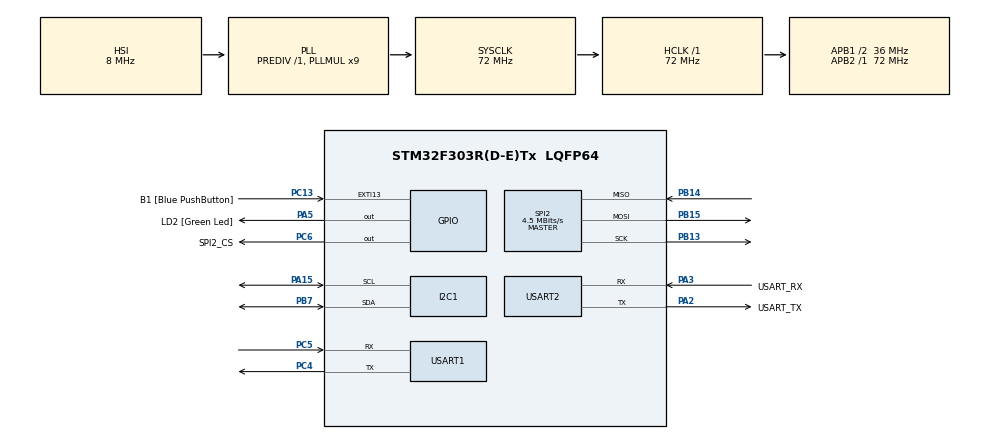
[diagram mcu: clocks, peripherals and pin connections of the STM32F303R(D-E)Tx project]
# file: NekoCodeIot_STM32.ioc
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I2C1.Timing=0x00201D2B
Mcu.Family=STM32F3
Mcu.Name=STM32F303R(D-E)Tx
Mcu.Package=LQFP64
NVIC.PriorityGroup=NVIC_PRIORITYGROUP_0
PA13.GPIO_Label=TMS
PA13.Mode=Serial_Wire
PA13.Signal=SYS_JTMS-SWDIO
PA14.GPIO_Label=TCK
PA14.Mode=Serial_Wire
PA14.Signal=SYS_JTCK-SWCLK
PA15.Mode=I2C
PA15.Signal=I2C1_SCL
PA2.GPIO_Label=USART_TX
PA2.GPIO_Mode=GPIO_MODE_AF_PP
PA2.GPIO_PuPd=GPIO_NOPULL
PA2.GPIO_Speed=GPIO_SPEED_FREQ_LOW
PA2.Mode=Asynchronous
PA2.Signal=USART2_TX
PA3.GPIO_Label=USART_RX
PA3.GPIO_Mode=GPIO_MODE_AF_PP
PA3.GPIO_PuPd=GPIO_NOPULL
PA3.GPIO_Speed=GPIO_SPEED_FREQ_LOW
PA3.Mode=Asynchronous
PA3.Signal=USART2_RX
PA5.GPIO_Label=LD2 [Green Led]
PA5.GPIO_Mode=GPIO_MODE_OUTPUT_PP
PA5.GPIO_PuPd=GPIO_NOPULL
PA5.GPIO_Speed=GPIO_SPEED_FREQ_LOW
PA5.Signal=GPIO_Output
PB13.Mode=Full_Duplex_Master
PB13.Signal=SPI2_SCK
PB14.Mode=Full_Duplex_Master
PB14.Signal=SPI2_MISO
PB15.Mode=Full_Duplex_Master
PB15.Signal=SPI2_MOSI
PB3.GPIO_Label=SWO
PB3.Signal=SYS_JTDO-TRACESWO
PB7.Mode=I2C
PB7.Signal=I2C1_SDA
PC13.GPIO_Label=B1 [Blue PushButton]
PC13.GPIO_ModeDefaultEXTI=GPIO_MODE_IT_FALLING
PC13.Signal=GPXTI13
PC14-OSC32_IN.Mode=LSE-External-Oscillator
PC14-OSC32_IN.Signal=RCC_OSC32_IN
PC15-OSC32_OUT.Mode=LSE-External-Oscillator
PC15-OSC32_OUT.Signal=RCC_OSC32_OUT
PC4.Mode=Asynchronous
PC4.Signal=USART1_TX
PC5.Mode=Asynchronous
PC5.Signal=USART1_RX
PC6.GPIO_Label=SPI2_CS
PC6.PinState=GPIO_PIN_SET
PC6.Signal=GPIO_Output
PF0-OSC_IN.Mode=HSE-External-Clock-Source
PF0-OSC_IN.Signal=RCC_OSC_IN
PF1-OSC_OUT.Signal=RCC_OSC_OUT
ProjectManager.HeapSize=0x200
ProjectManager.StackSize=0x400
ProjectManager.TargetToolchain=CMake
RCC.AHBFreq_Value=72000000
RCC.APB1CLKDivider=RCC_HCLK_DIV2
RCC.APB1Freq_Value=36000000
RCC.APB1TimFreq_Value=72000000
RCC.APB2Freq_Value=72000000
RCC.APB2TimFreq_Value=72000000
RCC.CortexFreq_Value=72000000
RCC.HCLKFreq_Value=72000000
RCC.HSE_VALUE=8000000
RCC.HSI_VALUE=8000000
RCC.PLLM=8
RCC.PLLMUL=RCC_PLL_MUL9
RCC.PLLN=336
RCC.PLLP=RCC_PLLP_DIV4
RCC.PLLQ=7
RCC.RCC_PLLsource_Clock_Source_FROM_HSE=RCC_HSE_PREDIV_DIV2
RCC.SYSCLKFreq_VALUE=72000000
RCC.SYSCLKSourceVirtual=RCC_SYSCLKSOURCE_PLLCLK
RCC.USBFreq_Value=72000000
SPI2.BaudRatePrescaler=SPI_BAUDRATEPRESCALER_8
SPI2.CLKPhase=SPI_PHASE_1EDGE
SPI2.CLKPolarity=SPI_POLARITY_LOW
SPI2.CalculateBaudRate=4.5 MBits/s
SPI2.DataSize=SPI_DATASIZE_8BIT
SPI2.Direction=SPI_DIRECTION_2LINES
SPI2.Mode=SPI_MODE_MASTER
SPI2.VirtualType=VM_MASTER
USART1.VirtualMode-Asynchronous=VM_ASYNC
USART2.VirtualMode-Asynchronous=VM_ASYNC
board=NUCLEO-F303RE

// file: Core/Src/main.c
/* USER CODE BEGIN Header */
/**
  ******************************************************************************
  * @file           : main.c
  * @brief          : Main program body
  ******************************************************************************
  * @attention
  *
  * Copyright (c) 2026 STMicroelectronics.
  * All rights reserved.
  *
  * This software is licensed under terms that can be found in the LICENSE file
  * in the root directory of this software component.
  * If no LICENSE file comes with this software, it is provided AS-IS.
  *
  ******************************************************************************
  */
/* USER CODE END Header */
#include "main.h"
#include "i2c.h"
#include "spi.h"
#include "usart.h"
#include "gpio.h"

/* USER CODE BEGIN Includes */
#include <stdio.h>
#include "bme680.h"
/* USER CODE END Includes */

/* USER CODE BEGIN PV */
BME680_HandleTypeDef bme680;
int32_t temperature = 0;
/* USER CODE END PV */

void SystemClock_Config(void);

int main(void)
{

  /* MCU Configuration--------------------------------------------------------*/

  /* Reset of all peripherals, Initializes the Flash interface and the Systick. */
  HAL_Init();

  /* USER CODE BEGIN Init */
  /* Initialize SPI transfer buffers properly */
  /* Use local variables for TX/RX instead of invalid pointers */

  /* USER CODE NOTE: move actual transfer to after peripheral init */
  /* USER CODE END Init */

  /* Configure the system clock */
  SystemClock_Config();

  /* Initialize all configured peripherals */
  MX_GPIO_Init();
  MX_I2C1_Init();
  MX_SPI2_Init();
  MX_USART1_UART_Init();
  MX_USART2_UART_Init();
  /* USER CODE BEGIN 2 */

  BME680_Init(&bme680, &hspi2); // Initialize BME680 with SPI handle and I2C address

  BME680_SetHumidityOversampling(&bme680, 4U);

  BME680_SetTemperatureOversampling(&bme680, BME680_T_OVERSAMPLING_1X); // Set temperature oversampling to 1x

  BME680_SetForcedMode(&bme680); // Set BME680 to forced mode
  BME680_ReadTemperature(&bme680, &temperature); // Read temperature from BME680
  /* USER CODE END 2 */

  /* Infinite loop */
  /* USER CODE BEGIN WHILE */
  while (1)
  {//TEST
	  BME680_SetForcedMode(&bme680); // Set BME680 to forced mode
	  HAL_Delay(108);
      BME680_ReadTemperature(&bme680, &temperature); // Read temperature from BME680

	  //extern SPI_HandleTypeDef hspi1;
	  //
	  //#define BME680_CS_GPIO_Port GPIOB
	  //#define BME680_CS_Pin GPIO_PIN_6
	  //#define BME680_REG_ID               0x50
	  //
	  //
	  //HAL_StatusTypeDef BME680_ReadChipID(uint8_t *chip_id)
	  //{
	  //    if(chip_id == NULL)
	  //    {
	  //        return HAL_ERROR; // Return error if chip_id pointer is NULL
	  //    }
	  //
	  //    uint8_t tx[2] = {BME680_REG_ID | 0x80, 0}   ; // Set MSB for read operation
	  //    uint8_t rx[2] = {0}; // Buffer to store received data
	  //
	  //    HAL_GPIO_WritePin(BME680_CS_GPIO_Port, BME680_CS_Pin, GPIO_PIN_RESET); // Set CS low
	  //
	  //    HAL_Delay(1); // Short delay to ensure CS is stable
	  //    if(HAL_SPI_TransmitReceive(&hspi1, &tx, &rx, 2, HAL_MAX_DELAY) != HAL_OK) // Transmit register address and receive chip ID
	  //    {
	  //        HAL_GPIO_WritePin(BME680_CS_GPIO_Port, BME680_CS_Pin, GPIO_PIN_SET); // Set CS high
	  //        return HAL_ERROR;
	  //    }
	  //
	  //    // 5. Ustaw CS na HIGH
	  //    HAL_GPIO_WritePin(BME680_CS_GPIO_Port, BME680_CS_Pin, GPIO_PIN_SET); // Set CS high
	  //    // 6. Zwróć status komunikacji
	  //    *chip_id = rx[1]; // Extract the chip ID from the received data
	  //    return HAL_OK;
	  //}
//    HAL_GPIO_WritePin(SPI2_CS_GPIO_Port, SPI2_CS_Pin, GPIO_PIN_RESET);
//    HAL_Delay(500); // Delay for 500 ms
//    HAL_GPIO_WritePin(SPI2_CS_GPIO_Port, SPI2_CS_Pin, GPIO_PIN_SET);

    /* USER CODE END WHILE */

    /* USER CODE BEGIN 3 */

    // Wait 2 seconds before next reading

  }
  /* USER CODE END 3 */
}

void SystemClock_Config(void)
{
  RCC_OscInitTypeDef RCC_OscInitStruct = {0};
  RCC_ClkInitTypeDef RCC_ClkInitStruct = {0};
  RCC_PeriphCLKInitTypeDef PeriphClkInit = {0};

  /** Initializes the RCC Oscillators according to the specified parameters
  * in the RCC_OscInitTypeDef structure.
  */
  RCC_OscInitStruct.OscillatorType = RCC_OSCILLATORTYPE_HSI;
  RCC_OscInitStruct.HSIState = RCC_HSI_ON;
  RCC_OscInitStruct.HSICalibrationValue = RCC_HSICALIBRATION_DEFAULT;
  RCC_OscInitStruct.PLL.PLLState = RCC_PLL_ON;
  RCC_OscInitStruct.PLL.PLLSource = RCC_PLLSOURCE_HSI;
  RCC_OscInitStruct.PLL.PLLMUL = RCC_PLL_MUL9;
  RCC_OscInitStruct.PLL.PREDIV = RCC_PREDIV_DIV1;
  if (HAL_RCC_OscConfig(&RCC_OscInitStruct) != HAL_OK)
  {
    Error_Handler();
  }

  /** Initializes the CPU, AHB and APB buses clocks
  */
  RCC_ClkInitStruct.ClockType = RCC_CLOCKTYPE_HCLK|RCC_CLOCKTYPE_SYSCLK
                              |RCC_CLOCKTYPE_PCLK1|RCC_CLOCKTYPE_PCLK2;
  RCC_ClkInitStruct.SYSCLKSource = RCC_SYSCLKSOURCE_PLLCLK;
  RCC_ClkInitStruct.AHBCLKDivider = RCC_SYSCLK_DIV1;
  RCC_ClkInitStruct.APB1CLKDivider = RCC_HCLK_DIV2;
  RCC_ClkInitStruct.APB2CLKDivider = RCC_HCLK_DIV1;

  if (HAL_RCC_ClockConfig(&RCC_ClkInitStruct, FLASH_LATENCY_2) != HAL_OK)
  {
    Error_Handler();
  }
  PeriphClkInit.PeriphClockSelection = RCC_PERIPHCLK_USART1|RCC_PERIPHCLK_USART2
                              |RCC_PERIPHCLK_I2C1;
  PeriphClkInit.Usart1ClockSelection = RCC_USART1CLKSOURCE_PCLK2;
  PeriphClkInit.Usart2ClockSelection = RCC_USART2CLKSOURCE_PCLK1;
  PeriphClkInit.I2c1ClockSelection = RCC_I2C1CLKSOURCE_HSI;
  if (HAL_RCCEx_PeriphCLKConfig(&PeriphClkInit) != HAL_OK)
  {
    Error_Handler();
  }
}

/* USER CODE BEGIN 4 */
int __io_putchar(int ch)
{
  /* Place your implementation of fputc here */
  /* e.g. write a character to the USART2 and Loop until the end of transmission */
  HAL_UART_Transmit(&huart2, (uint8_t *)&ch, 1, 0xFFFF);

  return ch;
}

/* USER CODE END 4 */

void Error_Handler(void)
{
  __disable_irq();
  while (1)
  {
  }
}
